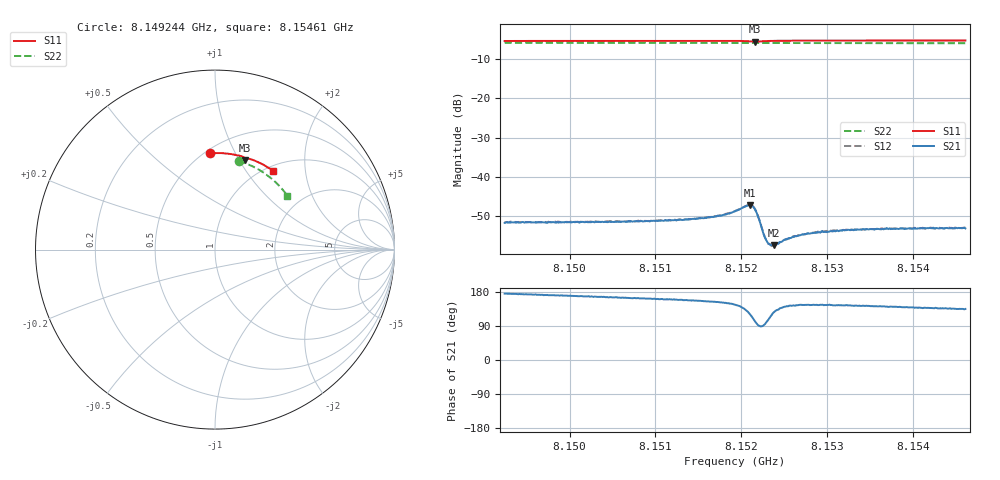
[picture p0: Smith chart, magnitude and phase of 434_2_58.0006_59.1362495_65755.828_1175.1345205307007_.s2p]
#  HZ  S  RI  R  50.00
! Rohde & Schwarz Vector Network Analyzer
! Rohde-Schwarz,ZNB20-2Port,1311601062101988,3.16
! Created: UTC 3/21/2024, 1:09:46 AM
! freq[Hz]  re:S11  im:S11  re:S21  im:S21  re:S12  im:S12  re:S22  im:S22
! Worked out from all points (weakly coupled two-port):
!   401 points, 8.149244 GHz to 8.15461 GHz, reference 50 ohm
!   highest |S21| = -47.19 dB at 8.152102 GHz (marker M1); lowest = -57.5 dB at 8.152383 GHz (marker M2)
!   lowest |S11| = -5.6 dB at 8.152155 GHz (marker M3), VSWR 3.23, Z = 38.3 + j53 ohm
!   |S11| at or under -10 dB: nowhere
!   |S22| runs from -6.0 to -5.8 dB; largest |S21 - S12| = 0.00013
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8.149244e9  -0.0278 0.5364  -0.00259 0.000218  -0.00262 0.00027  0.1317 0.4933
8.1501428e9  0.035 0.5376  -0.00261 0.000525  -0.00263 0.000602  0.1864 0.4741
8.1510417e9  0.0974 0.5312  -0.0026 0.000929  -0.00263 0.000968  0.2383 0.4488
8.1512697e9  0.1133 0.5284  -0.00264 0.00104  -0.00266 0.00107  0.2508 0.4415
8.1515783e9  0.1349 0.5236  -0.00273 0.00125  -0.00273 0.00131  0.2676 0.4309
8.1517929e9  0.1505 0.519  -0.00288 0.00157  -0.00287 0.00162  0.2789 0.4232
8.1519271e9  0.1604 0.5147  -0.00302 0.00204  -0.00298 0.00208  0.2858 0.4182
8.1520613e9  0.1696 0.5065  -0.00276 0.00323  -0.00275 0.00331  0.2927 0.413
8.1521015e9  0.1703 0.5029  -0.00223 0.00375  -0.00217 0.00381  0.2946 0.4113
8.1521283e9  0.1693 0.5008  -0.00163 0.00394  -0.00159 0.00398  0.2957 0.4104
8.1521552e9  0.1677 0.5001  -0.000888 0.00382  -0.000874 0.00389  0.2971 0.4095
8.1521954e9  0.1659 0.5019  -0.000103 0.00311  -8.57e-05 0.00318  0.2989 0.4081
8.1522625e9  0.1688 0.5064  -6.13e-05 0.00183  -3.48e-05 0.00187  0.3023 0.4056
8.1522893e9  0.171 0.5077  -0.000236 0.00156  -0.000221 0.00157  0.3036 0.4048
8.1523296e9  0.1747 0.5084  -0.0005 0.00128  -0.000484 0.00132  0.3057 0.4031
8.1523564e9  0.1771 0.5085  -0.000664 0.00118  -0.000628 0.00115  0.3072 0.402
8.1523832e9  0.1794 0.5083  -0.000797 0.00108  -0.000768 0.0011  0.3085 0.401
8.1525979e9  0.1962 0.5048  -0.00139 0.00102  -0.00139 0.00104  0.3191 0.3922
8.152826e9  0.2121 0.4993  -0.00158 0.00109  -0.00159 0.00112  0.3301 0.3828
8.153215e9  0.2376 0.4885  -0.0017 0.00122  -0.0017 0.00126  0.3477 0.3658
8.1537248e9  0.2695 0.4728  -0.0017 0.0014  -0.00165 0.00137  0.3696 0.3424
8.1546103e9  0.3213 0.4406  -0.00155 0.00157  -0.00156 0.00165  0.4038 0.2988
